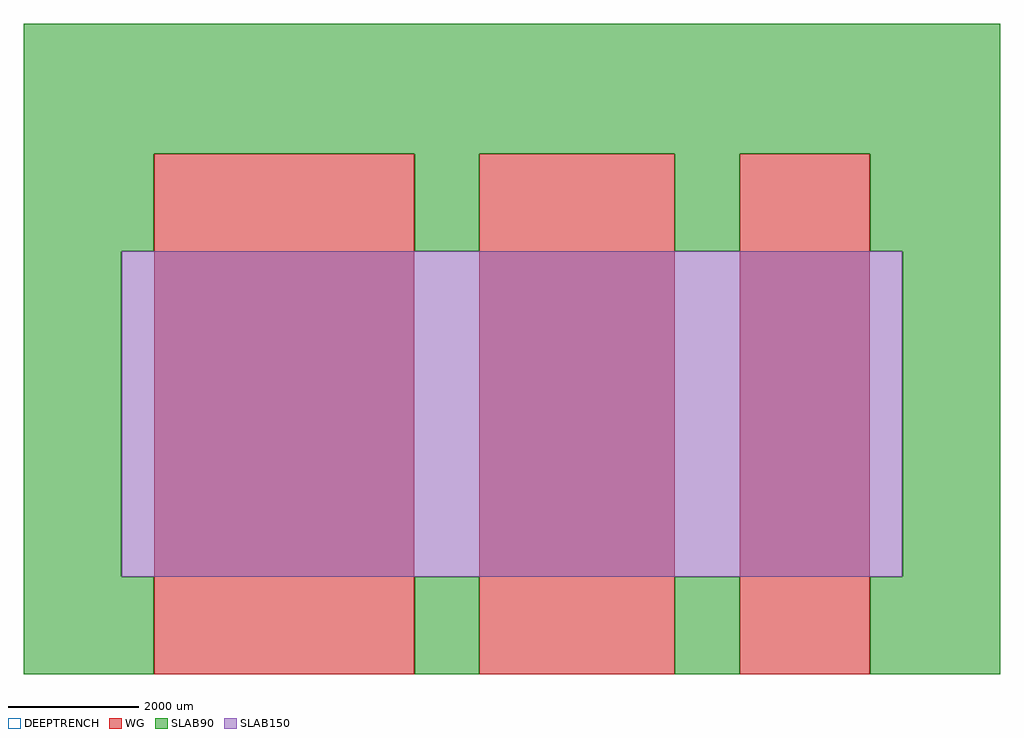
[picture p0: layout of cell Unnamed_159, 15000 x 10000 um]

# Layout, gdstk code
import gdstk
lib = gdstk.Library(unit=1e-6, precision=1e-09)
def R(c, l, rs):  # rectangles x0, y0, x1, y1
    for r in rs: c.add(gdstk.rectangle(r[:2], r[2:], *l))
def P(c, l, *ps):  # polygons
    for p in ps: c.add(gdstk.Polygon(p, *l))
WG = (1, 0)
SLAB150 = (2, 0)
SLAB90 = (3, 0)
DEEPTRENCH = (4, 0)

rectangle_gdsfactorypco_ = lib.new_cell('rectangle_gdsfactorypco_d62c8934')
R(rectangle_gdsfactorypco_, DEEPTRENCH, [(0,0,15000,10000)])

c_rectangle_gdsfactorypco_ = lib.new_cell('rectangle_gdsfactorypco_f3e8933c')
R(c_rectangle_gdsfactorypco_, WG, [(0,0,2000,8000)])

c_rectangle_gdsfactorypco__ = lib.new_cell('rectangle_gdsfactorypco_753275c4')
R(c_rectangle_gdsfactorypco__, SLAB150, [(0,0,12000,5000)])

c_rectangle_gdsfactorypco___ = lib.new_cell('rectangle_gdsfactorypco_79e0bb07')
R(c_rectangle_gdsfactorypco___, WG, [(0,0,3000,8000)])

c_rectangle_gdsfactorypco____ = lib.new_cell('rectangle_gdsfactorypco_37909111')
R(c_rectangle_gdsfactorypco____, WG, [(0,0,4000,8000)])

unnamed_159 = lib.new_cell('Unnamed_159')
R(unnamed_159, SLAB90, [(4003,0,4997,1497), (8003,0,8997,1497)])
P(unnamed_159, SLAB90, [(-2000,0),(-2000,10000),(13000,10000),(13000,0),(11003,0),(11003,1497),(11503,1497),(11503,6503),(11003,6503),(11003,8003),(8997,8003),(8997,6503),(8003,6503),(8003,8003),(4997,8003),(4997,6503),(4003,6503),(4003,8003),(-3,8003),(-3,6503),(-503,6503),(-503,1497),(-3,1497),(-3,0)])
unnamed_159.add(gdstk.Reference(rectangle_gdsfactorypco_, (-2000,0)))
unnamed_159.add(gdstk.Reference(c_rectangle_gdsfactorypco_, (9000,0)))
unnamed_159.add(gdstk.Reference(c_rectangle_gdsfactorypco__, (-500,1500)))
unnamed_159.add(gdstk.Reference(c_rectangle_gdsfactorypco___, (5000,0)))
unnamed_159.add(gdstk.Reference(c_rectangle_gdsfactorypco____, (0,0)))

lib.write_gds('Unnamed_159.gds')
